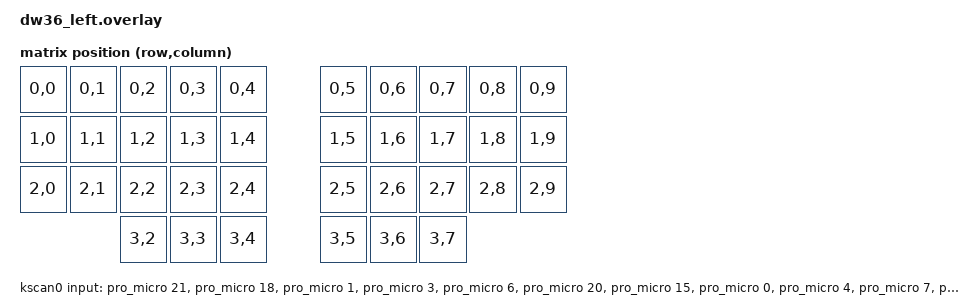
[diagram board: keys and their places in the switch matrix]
/*
 * Copyright (c) 2020 The ZMK Contributors
 *
 * SPDX-License-Identifier: MIT
 */

#include <dt-bindings/zmk/matrix_transform.h>

/ {
    chosen {
        zmk,kscan = &kscan0;
        zmk,matrix_transform = &default_transform;
    };

    default_transform: keymap_transform_0 {
        compatible = "zmk,matrix-transform";
        columns = <10>;
        rows = <4>;
// Unified matrix transform for split keyboard
// Left half physical keys map to left side of matrix
// | Q  | W  | E  | R  | T  |                 | Y  | U  | I  | O  | P  |
// | A  | S  | D  | F  | G  |                 | H  | J  | K  | L  | ;  |
// | Z  | X  | C  | V  | B  |                 | N  | M  | ,  | .  | /  |
//             |GUI |LWR |SPC|                 |ENT |RSE |ALT|
        map = <
RC(0,0) RC(0,1) RC(0,2) RC(0,3) RC(0,4)  RC(0,5) RC(0,6) RC(0,7) RC(0,8) RC(0,9)
RC(1,0) RC(1,1) RC(1,2) RC(1,3) RC(1,4)  RC(1,5) RC(1,6) RC(1,7) RC(1,8) RC(1,9)
RC(2,0) RC(2,1) RC(2,2) RC(2,3) RC(2,4)  RC(2,5) RC(2,6) RC(2,7) RC(2,8) RC(2,9)
                RC(3,2) RC(3,3) RC(3,4)  RC(3,5) RC(3,6) RC(3,7)
        >;
    };

    kscan0: kscan {
        compatible = "zmk,kscan-gpio-direct";
        label = "KSCAN";
        input-gpios
        // Left half - 18 keys total (5+5+5+3)
        // Pin layout:
        // 21 18  1  3  6  (Q W E R T)
        // 20 15  0  4  7  (A S D F G)
        // 19 14  2  5  8  (Z X C V B)
        // -- -- 10 16  9  (-- -- GUI LOWER SPACE)
        
        // Row 0: Q W E R T (positions RC(0,0) to RC(0,4))
        = <&pro_micro 21 (GPIO_ACTIVE_LOW | GPIO_PULL_UP)>  // Q - RC(0,0)
        , <&pro_micro 18 (GPIO_ACTIVE_LOW | GPIO_PULL_UP)>  // W - RC(0,1)
        , <&pro_micro 1 (GPIO_ACTIVE_LOW | GPIO_PULL_UP)>   // E - RC(0,2)
        , <&pro_micro 3 (GPIO_ACTIVE_LOW | GPIO_PULL_UP)>   // R - RC(0,3)
        , <&pro_micro 6 (GPIO_ACTIVE_LOW | GPIO_PULL_UP)>   // T - RC(0,4)

        // Row 1: A S D F G (positions RC(1,0) to RC(1,4))
        , <&pro_micro 20 (GPIO_ACTIVE_LOW | GPIO_PULL_UP)>  // A - RC(1,0)
        , <&pro_micro 15 (GPIO_ACTIVE_LOW | GPIO_PULL_UP)>  // S - RC(1,1)
        , <&pro_micro 0 (GPIO_ACTIVE_LOW | GPIO_PULL_UP)>   // D - RC(1,2)
        , <&pro_micro 4 (GPIO_ACTIVE_LOW | GPIO_PULL_UP)>   // F - RC(1,3)
        , <&pro_micro 7 (GPIO_ACTIVE_LOW | GPIO_PULL_UP)>   // G - RC(1,4)

        // Row 2: Z X C V B (positions RC(2,0) to RC(2,4))
        , <&pro_micro 19 (GPIO_ACTIVE_LOW | GPIO_PULL_UP)>  // Z - RC(2,0)
        , <&pro_micro 14 (GPIO_ACTIVE_LOW | GPIO_PULL_UP)>  // X - RC(2,1)
        , <&pro_micro 2 (GPIO_ACTIVE_LOW | GPIO_PULL_UP)>   // C - RC(2,2)
        , <&pro_micro 5 (GPIO_ACTIVE_LOW | GPIO_PULL_UP)>   // V - RC(2,3)
        , <&pro_micro 8 (GPIO_ACTIVE_LOW | GPIO_PULL_UP)>   // B - RC(2,4)

        // Row 3: GUI LOWER SPACE (positions RC(3,2) to RC(3,4))
        , <&pro_micro 10 (GPIO_ACTIVE_LOW | GPIO_PULL_UP)>  // GUI - RC(3,2)
        , <&pro_micro 16 (GPIO_ACTIVE_LOW | GPIO_PULL_UP)>  // LOWER - RC(3,3)
        , <&pro_micro 9 (GPIO_ACTIVE_LOW | GPIO_PULL_UP)>   // SPACE - RC(3,4)
        ;
    };
};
